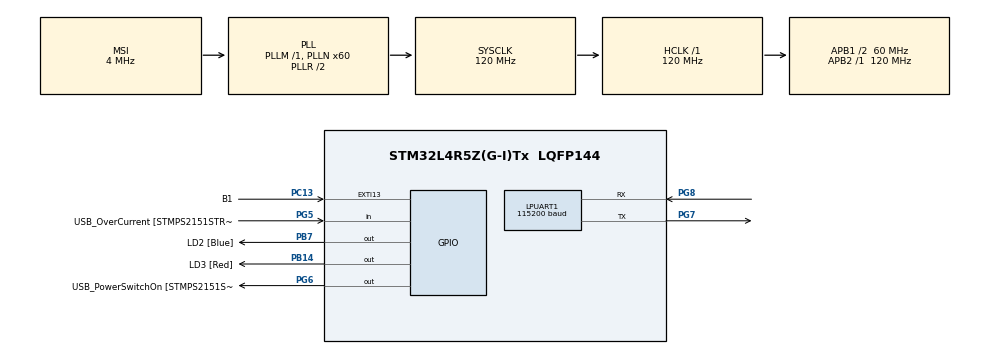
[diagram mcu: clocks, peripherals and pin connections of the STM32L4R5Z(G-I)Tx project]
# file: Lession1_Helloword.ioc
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FREERTOS.Tasks01=defaultTask,0,128,StartDefaultTask,Default,NULL
LPUART1.BaudRate=115200
LPUART1.WordLength=UART_WORDLENGTH_8B
Mcu.Family=STM32L4
Mcu.Name=STM32L4R5Z(G-I)Tx
Mcu.Package=LQFP144
NVIC.PriorityGroup=NVIC_PRIORITYGROUP_4
PA10.GPIO_Label=USB_ID
PA10.Signal=USB_OTG_FS_ID
PA11.GPIO_Label=USB_DM
PA11.Signal=USB_OTG_FS_DM
PA12.GPIO_Label=USB_DP
PA12.Signal=USB_OTG_FS_DP
PA13\ (JTMS/SWDIO).GPIO_Label=TMS
PA13\ (JTMS/SWDIO).Mode=Trace_Asynchronous_SW
PA13\ (JTMS/SWDIO).Signal=SYS_JTMS-SWDIO
PA14\ (JTCK/SWCLK).GPIO_Label=TCK
PA14\ (JTCK/SWCLK).Mode=Trace_Asynchronous_SW
PA14\ (JTCK/SWCLK).Signal=SYS_JTCK-SWCLK
PA8.GPIO_Label=USB_SOF [TP1]
PA8.Signal=USB_OTG_FS_SOF
PA9.GPIO_Label=USB_VBUS
PA9.Signal=USB_OTG_FS_VBUS
PB14.GPIO_Label=LD3 [Red]
PB14.Signal=GPIO_Output
PB3\ (JTDO/TRACESWO).GPIO_Label=SWO
PB3\ (JTDO/TRACESWO).Mode=Trace_Asynchronous_SW
PB3\ (JTDO/TRACESWO).Signal=SYS_JTDO-SWO
PB7.GPIO_Label=LD2 [Blue]
PB7.Signal=GPIO_Output
PC13.GPIO_Label=B1
PC13.Signal=GPXTI13
PC14-OSC32_IN\ (PC14).Mode=LSE-External-Oscillator
PC14-OSC32_IN\ (PC14).Signal=RCC_OSC32_IN
PC15-OSC32_OUT\ (PC15).Mode=LSE-External-Oscillator
PC15-OSC32_OUT\ (PC15).Signal=RCC_OSC32_OUT
PD8.GPIO_Label=STLK_RX [STM32F103CBT6_PA3]
PD8.Signal=USART3_TX
PD9.GPIO_Label=STLK_TX [STM32F103CBT6_PA2]
PD9.Signal=USART3_RX
PG5.GPIO_Label=USB_OverCurrent [STMPS2151STR_FAULT]
PG5.Signal=GPIO_Input
PG6.GPIO_Label=USB_PowerSwitchOn [STMPS2151STR_En]
PG6.Signal=GPIO_Output
PG7.Mode=Asynchronous
PG7.Signal=LPUART1_TX
PG8.Mode=Asynchronous
PG8.Signal=LPUART1_RX
PH0-OSC_IN\ (PH0).Mode=HSE-External-Oscillator
PH0-OSC_IN\ (PH0).Signal=RCC_OSC_IN
PH1-OSC_OUT\ (PH1).Mode=HSE-External-Oscillator
PH1-OSC_OUT\ (PH1).Signal=RCC_OSC_OUT
ProjectManager.HeapSize=0x2000
ProjectManager.StackSize=0x4000
ProjectManager.TargetToolchain=MDK-ARM V5
RCC.48MHZClocksFreq_Value=24000000
RCC.AHBFreq_Value=120000000
RCC.APB1CLKDivider=RCC_HCLK_DIV2
RCC.APB1Freq_Value=60000000
RCC.APB1TimFreq_Value=120000000
RCC.APB2Freq_Value=120000000
RCC.APB2TimFreq_Value=120000000
RCC.CortexFreq_Value=120000000
RCC.HCLKFreq_Value=120000000
RCC.HSE_VALUE=8000000
RCC.HSI48_VALUE=48000000
RCC.HSI_VALUE=16000000
RCC.MSI_VALUE=4000000
RCC.PLLMUL=RCC_PLL_MUL9
RCC.PLLN=60
RCC.PRESCALERUSB=RCC_USBCLKSOURCE_PLL_DIV1_5
RCC.SYSCLKFreq_VALUE=120000000
RCC.SYSCLKSource=RCC_SYSCLKSOURCE_PLLCLK
RCC.SYSCLKSourceVirtual=RCC_SYSCLKSOURCE_PLLCLK
RCC.USBFreq_Value=16000000
RCC.VCOOutputFreq_Value=240000000
VP_FREERTOS_VS_ENABLE.Mode=Enabled
board=NUCLEO-L4R5ZI

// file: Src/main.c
/* USER CODE BEGIN Header */
/**
  ******************************************************************************
  * @file           : main.c
  * @brief          : Main program body
  ******************************************************************************
  ** This notice applies to any and all portions of this file
  * that are not between comment pairs USER CODE BEGIN and
  * USER CODE END. Other portions of this file, whether
  * inserted by the user or by software development tools
  * are owned by their respective copyright owners.
  *
  * COPYRIGHT(c) 2020 STMicroelectronics
  *
  * Redistribution and use in source and binary forms, with or without modification,
  * are permitted provided that the following conditions are met:
  *   1. Redistributions of source code must retain the above copyright notice,
  *      this list of conditions and the following disclaimer.
  *   2. Redistributions in binary form must reproduce the above copyright notice,
  *      this list of conditions and the following disclaimer in the documentation
  *      and/or other materials provided with the distribution.
  *   3. Neither the name of STMicroelectronics nor the names of its contributors
  *      may be used to endorse or promote products derived from this software
  *      without specific prior written permission.
  *
  * THIS SOFTWARE IS PROVIDED BY THE COPYRIGHT HOLDERS AND CONTRIBUTORS "AS IS"
  * AND ANY EXPRESS OR IMPLIED WARRANTIES, INCLUDING, BUT NOT LIMITED TO, THE
  * IMPLIED WARRANTIES OF MERCHANTABILITY AND FITNESS FOR A PARTICULAR PURPOSE ARE
  * DISCLAIMED. IN NO EVENT SHALL THE COPYRIGHT HOLDER OR CONTRIBUTORS BE LIABLE
  * FOR ANY DIRECT, INDIRECT, INCIDENTAL, SPECIAL, EXEMPLARY, OR CONSEQUENTIAL
  * DAMAGES (INCLUDING, BUT NOT LIMITED TO, PROCUREMENT OF SUBSTITUTE GOODS OR
  * SERVICES; LOSS OF USE, DATA, OR PROFITS; OR BUSINESS INTERRUPTION) HOWEVER
  * CAUSED AND ON ANY THEORY OF LIABILITY, WHETHER IN CONTRACT, STRICT LIABILITY,
  * OR TORT (INCLUDING NEGLIGENCE OR OTHERWISE) ARISING IN ANY WAY OUT OF THE USE
  * OF THIS SOFTWARE, EVEN IF ADVISED OF THE POSSIBILITY OF SUCH DAMAGE.
  *
  ******************************************************************************
  */
/* USER CODE END Header */

#include "main.h"
#include "cmsis_os.h"
#include "usart.h"
#include "gpio.h"

/* USER CODE BEGIN Includes */
#include <string.h>
#include "LogFile.h"
/* USER CODE END Includes */

void SystemClock_Config(void);
void MX_FREERTOS_Init(void);

int main(void)
{

  /* MCU Configuration--------------------------------------------------------*/

  /* Reset of all peripherals, Initializes the Flash interface and the Systick. */
  HAL_Init();

  /* Configure the system clock */
  SystemClock_Config();

  /* Initialize all configured peripherals */
  MX_GPIO_Init();
  MX_LPUART1_UART_Init();

  /* Call init function for freertos objects (in freertos.c) */
  MX_FREERTOS_Init();

  /* Start scheduler */
  osKernelStart();

  /* We should never get here as control is now taken by the scheduler */

  /* Infinite loop */
  while (1)
  {

  }
}

void SystemClock_Config(void)
{
  RCC_OscInitTypeDef RCC_OscInitStruct = {0};
  RCC_ClkInitTypeDef RCC_ClkInitStruct = {0};
  RCC_PeriphCLKInitTypeDef PeriphClkInit = {0};

  /**Configure the main internal regulator output voltage
  */
  if (HAL_PWREx_ControlVoltageScaling(PWR_REGULATOR_VOLTAGE_SCALE1_BOOST) != HAL_OK)
  {
    Error_Handler();
  }
  /**Initializes the CPU, AHB and APB busses clocks
  */
  RCC_OscInitStruct.OscillatorType = RCC_OSCILLATORTYPE_MSI;
  RCC_OscInitStruct.MSIState = RCC_MSI_ON;
  RCC_OscInitStruct.MSICalibrationValue = 0;
  RCC_OscInitStruct.MSIClockRange = RCC_MSIRANGE_6;
  RCC_OscInitStruct.PLL.PLLState = RCC_PLL_ON;
  RCC_OscInitStruct.PLL.PLLSource = RCC_PLLSOURCE_MSI;
  RCC_OscInitStruct.PLL.PLLM = 1;
  RCC_OscInitStruct.PLL.PLLN = 60;
  RCC_OscInitStruct.PLL.PLLP = RCC_PLLP_DIV2;
  RCC_OscInitStruct.PLL.PLLQ = RCC_PLLQ_DIV2;
  RCC_OscInitStruct.PLL.PLLR = RCC_PLLR_DIV2;
  if (HAL_RCC_OscConfig(&RCC_OscInitStruct) != HAL_OK)
  {
    Error_Handler();
  }
  /**Initializes the CPU, AHB and APB busses clocks
  */
  RCC_ClkInitStruct.ClockType = RCC_CLOCKTYPE_HCLK|RCC_CLOCKTYPE_SYSCLK
                              |RCC_CLOCKTYPE_PCLK1|RCC_CLOCKTYPE_PCLK2;
  RCC_ClkInitStruct.SYSCLKSource = RCC_SYSCLKSOURCE_PLLCLK;
  RCC_ClkInitStruct.AHBCLKDivider = RCC_SYSCLK_DIV1;
  RCC_ClkInitStruct.APB1CLKDivider = RCC_HCLK_DIV2;
  RCC_ClkInitStruct.APB2CLKDivider = RCC_HCLK_DIV1;

  if (HAL_RCC_ClockConfig(&RCC_ClkInitStruct, FLASH_LATENCY_5) != HAL_OK)
  {
    Error_Handler();
  }
  PeriphClkInit.PeriphClockSelection = RCC_PERIPHCLK_LPUART1;
  PeriphClkInit.Lpuart1ClockSelection = RCC_LPUART1CLKSOURCE_PCLK1;
  if (HAL_RCCEx_PeriphCLKConfig(&PeriphClkInit) != HAL_OK)
  {
    Error_Handler();
  }
}

void Error_Handler(void)
{
}

/************************ (C) COPYRIGHT STMicroelectronics *****END OF FILE****/

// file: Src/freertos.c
/* USER CODE BEGIN Header */
/**
  ******************************************************************************
  * File Name          : freertos.c
  * Description        : Code for freertos applications
  ******************************************************************************
  * This notice applies to any and all portions of this file
  * that are not between comment pairs USER CODE BEGIN and
  * USER CODE END. Other portions of this file, whether
  * inserted by the user or by software development tools
  * are owned by their respective copyright owners.
  *
  * Copyright (c) 2020 STMicroelectronics International N.V.
  * All rights reserved.
  *
  * Redistribution and use in source and binary forms, with or without
  * modification, are permitted, provided that the following conditions are met:
  *
  * 1. Redistribution of source code must retain the above copyright notice,
  *    this list of conditions and the following disclaimer.
  * 2. Redistributions in binary form must reproduce the above copyright notice,
  *    this list of conditions and the following disclaimer in the documentation
  *    and/or other materials provided with the distribution.
  * 3. Neither the name of STMicroelectronics nor the names of other
  *    contributors to this software may be used to endorse or promote products
  *    derived from this software without specific written permission.
  * 4. This software, including modifications and/or derivative works of this
  *    software, must execute solely and exclusively on microcontroller or
  *    microprocessor devices manufactured by or for STMicroelectronics.
  * 5. Redistribution and use of this software other than as permitted under
  *    this license is void and will automatically terminate your rights under
  *    this license.
  *
  * THIS SOFTWARE IS PROVIDED BY STMICROELECTRONICS AND CONTRIBUTORS "AS IS"
  * AND ANY EXPRESS, IMPLIED OR STATUTORY WARRANTIES, INCLUDING, BUT NOT
  * LIMITED TO, THE IMPLIED WARRANTIES OF MERCHANTABILITY, FITNESS FOR A
  * PARTICULAR PURPOSE AND NON-INFRINGEMENT OF THIRD PARTY INTELLECTUAL PROPERTY
  * RIGHTS ARE DISCLAIMED TO THE FULLEST EXTENT PERMITTED BY LAW. IN NO EVENT
  * SHALL STMICROELECTRONICS OR CONTRIBUTORS BE LIABLE FOR ANY DIRECT, INDIRECT,
  * INCIDENTAL, SPECIAL, EXEMPLARY, OR CONSEQUENTIAL DAMAGES (INCLUDING, BUT NOT
  * LIMITED TO, PROCUREMENT OF SUBSTITUTE GOODS OR SERVICES; LOSS OF USE, DATA,
  * OR PROFITS; OR BUSINESS INTERRUPTION) HOWEVER CAUSED AND ON ANY THEORY OF
  * LIABILITY, WHETHER IN CONTRACT, STRICT LIABILITY, OR TORT (INCLUDING
  * NEGLIGENCE OR OTHERWISE) ARISING IN ANY WAY OUT OF THE USE OF THIS SOFTWARE,
  * EVEN IF ADVISED OF THE POSSIBILITY OF SUCH DAMAGE.
  *
  ******************************************************************************
  */
/* USER CODE END Header */

#include "FreeRTOS.h"
#include "task.h"
#include "main.h"
#include "cmsis_os.h"

/* USER CODE BEGIN Includes */
#include <string.h>
#include "usart.h"
#include "LogFile.h"
/* USER CODE END Includes */

/* USER CODE BEGIN Variables */
uint8_t recieveData[16];
uint8_t bufferData[256];
uint8_t *pData = &bufferData[0];
/* USER CODE END Variables */
osThreadId defaultTaskHandle;

/* USER CODE BEGIN FunctionPrototypes */
static int inputProccess(char input){
	int ret = 0;
	if( input=='\r'){

	} else if ( input=='\n' && strlen((const char *)bufferData)>0){
		pData[0] = '\0';
		pData = &bufferData[0];
		LOG_INFO("%s", pData);
	} else if (pData <= &bufferData[255]){
		pData[0] = input;
		pData++;
	} else {
		ret = -1;
	}
	return ret;
}
/* USER CODE END FunctionPrototypes */

void StartDefaultTask(void const * argument);

void MX_FREERTOS_Init(void); /* (MISRA C 2004 rule 8.1) */

void MX_FREERTOS_Init(void) {

  /* Create the thread(s) */
  /* definition and creation of defaultTask */
  osThreadDef(defaultTask, StartDefaultTask, osPriorityNormal, 0, 128);
  defaultTaskHandle = osThreadCreate(osThread(defaultTask), NULL);

}

void StartDefaultTask(void const * argument)
{

	/* USER CODE BEGIN StartDefaultTask */
	uint8_t data;
	LOG_INFO("Hello word");
	/* Infinite loop */
	for(;;) {
		if(HAL_UART_Receive(&hlpuart1,&data,1,1000) == HAL_OK){
			inputProccess((char)data);
		} else {

		}
		osDelay(1);
	}
	/* USER CODE END StartDefaultTask */
}

/************************ (C) COPYRIGHT STMicroelectronics *****END OF FILE****/
